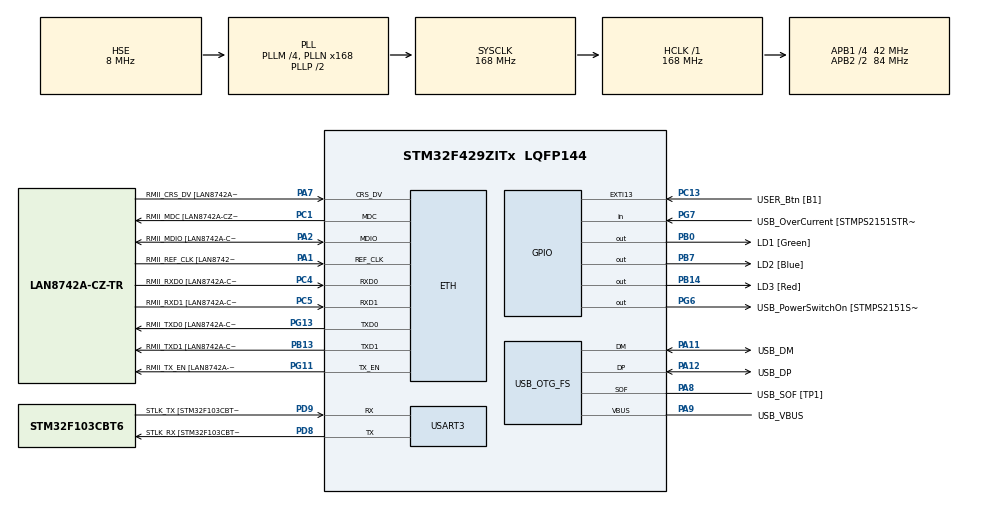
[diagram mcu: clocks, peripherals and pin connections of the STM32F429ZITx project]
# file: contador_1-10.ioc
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ETH.MediaInterface=HAL_ETH_RMII_MODE
ETH.PHY_Name=LAN8742A_PHY_ADDRESS
ETH.PHY_Value=0
ETH.PhyAddress=0
Mcu.Family=STM32F4
Mcu.Name=STM32F429ZITx
Mcu.Package=LQFP144
NVIC.PriorityGroup=NVIC_PRIORITYGROUP_4
PA1.GPIO_Label=RMII_REF_CLK [LAN8742A-CZ-TR_REFCLK0]
PA1.Mode=RMII
PA1.Signal=ETH_REF_CLK
PA10.GPIO_Label=USB_ID
PA10.Signal=USB_OTG_FS_ID
PA11.GPIO_Label=USB_DM
PA11.Mode=Device_Only
PA11.Signal=USB_OTG_FS_DM
PA12.GPIO_Label=USB_DP
PA12.Mode=Device_Only
PA12.Signal=USB_OTG_FS_DP
PA13.GPIO_Label=TMS
PA13.Mode=Serial_Wire
PA13.Signal=SYS_JTMS-SWDIO
PA14.GPIO_Label=TCK
PA14.Mode=Serial_Wire
PA14.Signal=SYS_JTCK-SWCLK
PA2.GPIO_Label=RMII_MDIO [LAN8742A-CZ-TR_MDIO]
PA2.Mode=RMII
PA2.Signal=ETH_MDIO
PA7.GPIO_Label=RMII_CRS_DV [LAN8742A-CZ-TR_CRS_DV]
PA7.Mode=RMII
PA7.Signal=ETH_CRS_DV
PA8.GPIO_Label=USB_SOF [TP1]
PA8.Mode=Activate_SOF_FS
PA8.Signal=USB_OTG_FS_SOF
PA9.GPIO_Label=USB_VBUS
PA9.Mode=Activate_VBUS
PA9.Signal=USB_OTG_FS_VBUS
PB0.GPIO_Label=LD1 [Green]
PB0.Signal=GPIO_Output
PB13.GPIO_Label=RMII_TXD1 [LAN8742A-CZ-TR_TXD1]
PB13.Mode=RMII
PB13.Signal=ETH_TXD1
PB14.GPIO_Label=LD3 [Red]
PB14.Signal=GPIO_Output
PB7.GPIO_Label=LD2 [Blue]
PB7.Signal=GPIO_Output
PC1.GPIO_Label=RMII_MDC [LAN8742A-CZ-TR_MDC]
PC1.Mode=RMII
PC1.Signal=ETH_MDC
PC13.GPIO_Label=USER_Btn [B1]
PC13.Signal=GPXTI13
PC14/OSC32_IN.Mode=LSE-External-Oscillator
PC14/OSC32_IN.Signal=RCC_OSC32_IN
PC15/OSC32_OUT.Mode=LSE-External-Oscillator
PC15/OSC32_OUT.Signal=RCC_OSC32_OUT
PC4.GPIO_Label=RMII_RXD0 [LAN8742A-CZ-TR_RXD0]
PC4.Mode=RMII
PC4.Signal=ETH_RXD0
PC5.GPIO_Label=RMII_RXD1 [LAN8742A-CZ-TR_RXD1]
PC5.Mode=RMII
PC5.Signal=ETH_RXD1
PD8.GPIO_Label=STLK_RX [STM32F103CBT6_PA3]
PD8.Mode=Asynchronous
PD8.Signal=USART3_TX
PD9.GPIO_Label=STLK_TX [STM32F103CBT6_PA2]
PD9.Mode=Asynchronous
PD9.Signal=USART3_RX
PG11.GPIO_Label=RMII_TX_EN [LAN8742A-CZ-TR_TXEN]
PG11.Mode=RMII
PG11.Signal=ETH_TX_EN
PG13.GPIO_Label=RMII_TXD0 [LAN8742A-CZ-TR_TXD0]
PG13.Mode=RMII
PG13.Signal=ETH_TXD0
PG6.GPIO_Label=USB_PowerSwitchOn [STMPS2151STR_EN]
PG6.Signal=GPIO_Output
PG7.GPIO_Label=USB_OverCurrent [STMPS2151STR_FAULT]
PG7.Signal=GPIO_Input
PH0/OSC_IN.GPIO_Label=MCO [STM32F103CBT6_PA8]
PH0/OSC_IN.Mode=HSE-External-Clock-Source
PH0/OSC_IN.Signal=RCC_OSC_IN
PH1/OSC_OUT.Mode=HSE-External-Clock-Source
PH1/OSC_OUT.Signal=RCC_OSC_OUT
ProjectManager.HeapSize=0x200
ProjectManager.StackSize=0x400
ProjectManager.TargetToolchain=STM32CubeIDE
RCC.48MHZClocksFreq_Value=48000000
RCC.AHBFreq_Value=168000000
RCC.APB1CLKDivider=RCC_HCLK_DIV4
RCC.APB1Freq_Value=42000000
RCC.APB1TimFreq_Value=84000000
RCC.APB2CLKDivider=RCC_HCLK_DIV2
RCC.APB2Freq_Value=84000000
RCC.APB2TimCLKDivider=2
RCC.APB2TimFreq_Value=168000000
RCC.CortexFreq_Value=168000000
RCC.HCLKFreq_Value=168000000
RCC.HSE_VALUE=8000000
RCC.HSI_VALUE=16000000
RCC.PLLM=4
RCC.PLLMUL=RCC_PLL_MUL9
RCC.PLLN=168
RCC.PLLQ=7
RCC.PRESCALERUSB=RCC_USBCLKSOURCE_PLL_DIV1_5
RCC.SYSCLKFreq_VALUE=168000000
RCC.SYSCLKSource=RCC_SYSCLKSOURCE_PLLCLK
RCC.SYSCLKSourceVirtual=RCC_SYSCLKSOURCE_PLLCLK
RCC.USBFreq_Value=48000000
RCC.VCOOutputFreq_Value=336000000
USART3.VirtualMode=VM_ASYNC
USB_OTG_FS.VirtualMode=Device_Only
board=NUCLEO-F429ZI

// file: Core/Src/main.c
/* USER CODE BEGIN Header */
/**
  ******************************************************************************
  * @file           : main.c
  * @brief          : Main program body
  ******************************************************************************
  * @attention
  *
  * Copyright (c) 2025 STMicroelectronics.
  * All rights reserved.
  *
  * This software is licensed under terms that can be found in the LICENSE file
  * in the root directory of this software component.
  * If no LICENSE file comes with this software, it is provided AS-IS.
  *
  ******************************************************************************
  */
/* USER CODE END Header */
#include "main.h"
#include "string.h"

/* USER CODE BEGIN PD */
#define DELAY 1000
/* USER CODE END PD */

ETH_TxPacketConfig TxConfig;
ETH_DMADescTypeDef  DMARxDscrTab[ETH_RX_DESC_CNT]; /* Ethernet Rx DMA Descriptors */
ETH_DMADescTypeDef  DMATxDscrTab[ETH_TX_DESC_CNT]; /* Ethernet Tx DMA Descriptors */

ETH_HandleTypeDef heth;

UART_HandleTypeDef huart3;

PCD_HandleTypeDef hpcd_USB_OTG_FS;

void SystemClock_Config(void);
static void MX_GPIO_Init(void);
static void MX_ETH_Init(void);
static void MX_USART3_UART_Init(void);
static void MX_USB_OTG_FS_PCD_Init(void);

int main(void)
{

  /* MCU Configuration--------------------------------------------------------*/

  /* Reset of all peripherals, Initializes the Flash interface and the Systick. */
  HAL_Init();

  /* Configure the system clock */
  SystemClock_Config();

  /* Initialize all configured peripherals */
  MX_GPIO_Init();
  MX_ETH_Init();
  MX_USART3_UART_Init();
  MX_USB_OTG_FS_PCD_Init();

  /* Infinite loop */
  /* USER CODE BEGIN WHILE */
  while (1)
  {
	for (int cont = 1; cont <= 10; cont++){
		print_number(cont);
		HAL_Delay(DELAY);
	}
    /* USER CODE END WHILE */

  }
}

void SystemClock_Config(void)
{
  RCC_OscInitTypeDef RCC_OscInitStruct = {0};
  RCC_ClkInitTypeDef RCC_ClkInitStruct = {0};

  /** Configure the main internal regulator output voltage
  */
  __HAL_RCC_PWR_CLK_ENABLE();
  __HAL_PWR_VOLTAGESCALING_CONFIG(PWR_REGULATOR_VOLTAGE_SCALE1);

  /** Initializes the RCC Oscillators according to the specified parameters
  * in the RCC_OscInitTypeDef structure.
  */
  RCC_OscInitStruct.OscillatorType = RCC_OSCILLATORTYPE_HSE;
  RCC_OscInitStruct.HSEState = RCC_HSE_BYPASS;
  RCC_OscInitStruct.PLL.PLLState = RCC_PLL_ON;
  RCC_OscInitStruct.PLL.PLLSource = RCC_PLLSOURCE_HSE;
  RCC_OscInitStruct.PLL.PLLM = 4;
  RCC_OscInitStruct.PLL.PLLN = 168;
  RCC_OscInitStruct.PLL.PLLP = RCC_PLLP_DIV2;
  RCC_OscInitStruct.PLL.PLLQ = 7;
  if (HAL_RCC_OscConfig(&RCC_OscInitStruct) != HAL_OK)
  {
    Error_Handler();
  }

  /** Initializes the CPU, AHB and APB buses clocks
  */
  RCC_ClkInitStruct.ClockType = RCC_CLOCKTYPE_HCLK|RCC_CLOCKTYPE_SYSCLK
                              |RCC_CLOCKTYPE_PCLK1|RCC_CLOCKTYPE_PCLK2;
  RCC_ClkInitStruct.SYSCLKSource = RCC_SYSCLKSOURCE_PLLCLK;
  RCC_ClkInitStruct.AHBCLKDivider = RCC_SYSCLK_DIV1;
  RCC_ClkInitStruct.APB1CLKDivider = RCC_HCLK_DIV4;
  RCC_ClkInitStruct.APB2CLKDivider = RCC_HCLK_DIV2;

  if (HAL_RCC_ClockConfig(&RCC_ClkInitStruct, FLASH_LATENCY_5) != HAL_OK)
  {
    Error_Handler();
  }
}

static void MX_ETH_Init(void)
{

   static uint8_t MACAddr[6];

  heth.Instance = ETH;
  MACAddr[0] = 0x00;
  MACAddr[1] = 0x80;
  MACAddr[2] = 0xE1;
  MACAddr[3] = 0x00;
  MACAddr[4] = 0x00;
  MACAddr[5] = 0x00;
  heth.Init.MACAddr = &MACAddr[0];
  heth.Init.MediaInterface = HAL_ETH_RMII_MODE;
  heth.Init.TxDesc = DMATxDscrTab;
  heth.Init.RxDesc = DMARxDscrTab;
  heth.Init.RxBuffLen = 1524;

  if (HAL_ETH_Init(&heth) != HAL_OK)
  {
    Error_Handler();
  }

  memset(&TxConfig, 0 , sizeof(ETH_TxPacketConfig));
  TxConfig.Attributes = ETH_TX_PACKETS_FEATURES_CSUM | ETH_TX_PACKETS_FEATURES_CRCPAD;
  TxConfig.ChecksumCtrl = ETH_CHECKSUM_IPHDR_PAYLOAD_INSERT_PHDR_CALC;
  TxConfig.CRCPadCtrl = ETH_CRC_PAD_INSERT;

}

static void MX_USART3_UART_Init(void)
{

  huart3.Instance = USART3;
  huart3.Init.BaudRate = 115200;
  huart3.Init.WordLength = UART_WORDLENGTH_8B;
  huart3.Init.StopBits = UART_STOPBITS_1;
  huart3.Init.Parity = UART_PARITY_NONE;
  huart3.Init.Mode = UART_MODE_TX_RX;
  huart3.Init.HwFlowCtl = UART_HWCONTROL_NONE;
  huart3.Init.OverSampling = UART_OVERSAMPLING_16;
  if (HAL_UART_Init(&huart3) != HAL_OK)
  {
    Error_Handler();
  }

}

static void MX_USB_OTG_FS_PCD_Init(void)
{

  hpcd_USB_OTG_FS.Instance = USB_OTG_FS;
  hpcd_USB_OTG_FS.Init.dev_endpoints = 4;
  hpcd_USB_OTG_FS.Init.speed = PCD_SPEED_FULL;
  hpcd_USB_OTG_FS.Init.dma_enable = DISABLE;
  hpcd_USB_OTG_FS.Init.phy_itface = PCD_PHY_EMBEDDED;
  hpcd_USB_OTG_FS.Init.Sof_enable = ENABLE;
  hpcd_USB_OTG_FS.Init.low_power_enable = DISABLE;
  hpcd_USB_OTG_FS.Init.lpm_enable = DISABLE;
  hpcd_USB_OTG_FS.Init.vbus_sensing_enable = ENABLE;
  hpcd_USB_OTG_FS.Init.use_dedicated_ep1 = DISABLE;
  if (HAL_PCD_Init(&hpcd_USB_OTG_FS) != HAL_OK)
  {
    Error_Handler();
  }

}

static void MX_GPIO_Init(void)
{
  GPIO_InitTypeDef GPIO_InitStruct = {0};

  /* GPIO Ports Clock Enable */
  __HAL_RCC_GPIOC_CLK_ENABLE();
  __HAL_RCC_GPIOH_CLK_ENABLE();
  __HAL_RCC_GPIOA_CLK_ENABLE();
  __HAL_RCC_GPIOB_CLK_ENABLE();
  __HAL_RCC_GPIOD_CLK_ENABLE();
  __HAL_RCC_GPIOG_CLK_ENABLE();

  /*Configure GPIO pin Output Level */
  HAL_GPIO_WritePin(GPIOB, LD1_Pin|LD3_Pin|LD2_Pin, GPIO_PIN_RESET);

  /*Configure GPIO pin Output Level */
  HAL_GPIO_WritePin(USB_PowerSwitchOn_GPIO_Port, USB_PowerSwitchOn_Pin, GPIO_PIN_RESET);

  /*Configure GPIO pin : USER_Btn_Pin */
  GPIO_InitStruct.Pin = USER_Btn_Pin;
  GPIO_InitStruct.Mode = GPIO_MODE_IT_RISING;
  GPIO_InitStruct.Pull = GPIO_NOPULL;
  HAL_GPIO_Init(USER_Btn_GPIO_Port, &GPIO_InitStruct);

  /*Configure GPIO pins : LD1_Pin LD3_Pin LD2_Pin */
  GPIO_InitStruct.Pin = LD1_Pin|LD3_Pin|LD2_Pin;
  GPIO_InitStruct.Mode = GPIO_MODE_OUTPUT_PP;
  GPIO_InitStruct.Pull = GPIO_NOPULL;
  GPIO_InitStruct.Speed = GPIO_SPEED_FREQ_LOW;
  HAL_GPIO_Init(GPIOB, &GPIO_InitStruct);

  /*Configure GPIO pin : USB_PowerSwitchOn_Pin */
  GPIO_InitStruct.Pin = USB_PowerSwitchOn_Pin;
  GPIO_InitStruct.Mode = GPIO_MODE_OUTPUT_PP;
  GPIO_InitStruct.Pull = GPIO_NOPULL;
  GPIO_InitStruct.Speed = GPIO_SPEED_FREQ_LOW;
  HAL_GPIO_Init(USB_PowerSwitchOn_GPIO_Port, &GPIO_InitStruct);

  /*Configure GPIO pin : USB_OverCurrent_Pin */
  GPIO_InitStruct.Pin = USB_OverCurrent_Pin;
  GPIO_InitStruct.Mode = GPIO_MODE_INPUT;
  GPIO_InitStruct.Pull = GPIO_NOPULL;
  HAL_GPIO_Init(USB_OverCurrent_GPIO_Port, &GPIO_InitStruct);

}

/* USER CODE BEGIN 4 */
void print_number(int num) {

	char buffer[6];  // Soporta hasta 5 dígitos + '\0'
    int index = 0;

    do {
        buffer[index++] = (num % 10) + '0';
        num /= 10;
    } while (num > 0);

    // Invertir el buffer para obtener el número en el orden correcto
    for (int i = 0, j = index - 1; i < j; i++, j--) {
        char temp = buffer[i];
        buffer[i] = buffer[j];
        buffer[j] = temp;
    }

    buffer[index] = '\0';  // Terminar el string

    // Enviar el número por UART
    HAL_UART_Transmit(&huart3, (uint8_t*)buffer, index, HAL_MAX_DELAY);
    HAL_UART_Transmit(&huart3, (uint8_t*)"\r\n", 2, HAL_MAX_DELAY);
}
/* USER CODE END 4 */

void Error_Handler(void)
{
  __disable_irq();
  while (1)
  {
  }
}
